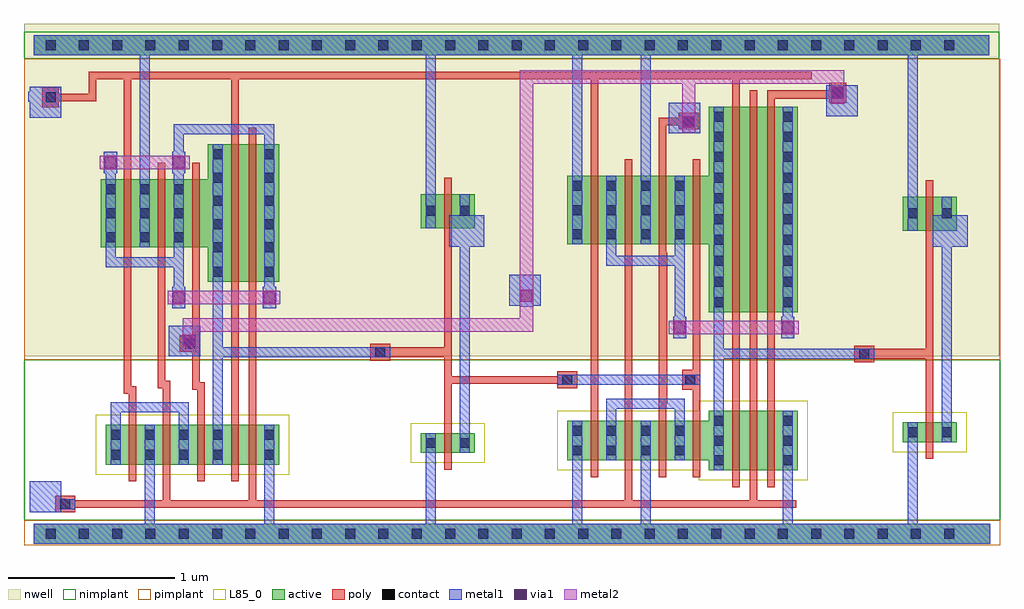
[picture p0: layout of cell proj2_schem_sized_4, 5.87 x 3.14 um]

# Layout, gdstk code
from math import pi, radians
import gdstk
lib = gdstk.Library(unit=1e-6, precision=5e-10)
def R(c, l, rs):  # rectangles x0, y0, x1, y1
    for r in rs: c.add(gdstk.rectangle(r[:2], r[2:], *l))
def A(c, l, x, y, w, h, nx, ny, dx, dy):  # array of equal rectangles
    R(c, l, [(x+i*dx, y+j*dy, x+i*dx+w, y+j*dy+h) for i in range(nx) for j in range(ny)])
active = (1, 0)
nwell = (2, 0)
poly = (3, 0)
nimplant = (4, 0)
pimplant = (5, 0)
contact = (6, 0)
metal1 = (7, 0)
via1 = (8, 0)
metal2 = (9, 0)
L85_0 = (85, 0)

nmos1v_cdns_10 = lib.new_cell('nmos1v_CDNS_10')
R(nmos1v_cdns_10, active, [(-0.14,0,0,0.12), (0,0,0.045,0.12), (0.045,0,0.185,0.12)])
R(nmos1v_cdns_10, poly, [(0,-0.1,0.045,-0.05), (0,-0.05,0.045,0), (0,0,0.045,0.12), (0,0.12,0.045,0.17), (0,0.17,0.045,0.22)])
R(nmos1v_cdns_10, nimplant, [(-0.1,-0.1,0.145,0.22), (-0.21,-0.07,0.255,0.19)])
R(nmos1v_cdns_10, contact, [(-0.11,0.03,-0.05,0.09), (0.095,0.03,0.155,0.09)])
R(nmos1v_cdns_10, metal1, [(-0.11,0,-0.05,0.12), (0.095,0,0.155,0.12)])
R(nmos1v_cdns_10, L85_0, [(-0.2,-0.06,0.245,0.18)])

nmos1v_cdns_11 = lib.new_cell('nmos1v_CDNS_11')
R(nmos1v_cdns_11, active, [(-0.03,0,0,0.36), (0,0,0.045,0.36), (0.045,0,0.075,0.36)])
R(nmos1v_cdns_11, poly, [(0,-0.1,0.045,-0.05), (0,-0.05,0.045,0), (0,0,0.045,0.36), (0,0.36,0.045,0.41), (0,0.41,0.045,0.46)])
R(nmos1v_cdns_11, nimplant, [(-0.1,-0.1,0.145,0.46), (-0.1,-0.07,0.145,0.43)])
R(nmos1v_cdns_11, L85_0, [(-0.09,-0.06,0.135,0.42)])

pmos1v_cdns_12 = lib.new_cell('pmos1v_CDNS_12')
R(pmos1v_cdns_12, active, [(-0.11,0,0,0.41), (0,0,0.045,0.41), (0.045,0,0.155,0.41)])
R(pmos1v_cdns_12, nwell, [(-0.17,-0.06,0.215,0.47)])
R(pmos1v_cdns_12, poly, [(0,-0.1,0.045,-0.05), (0,-0.05,0.045,0), (0,0,0.045,0.41), (0,0.41,0.045,0.46), (0,0.46,0.045,0.51)])
R(pmos1v_cdns_12, pimplant, [(-0.1,-0.1,0.145,0.51), (-0.18,-0.07,0.225,0.48)])
A(pmos1v_cdns_12, contact, -0.11, 0.03, 0.06, 0.06, 1, 3, 0, 0.145)
A(pmos1v_cdns_12, contact, 0.095, 0.03, 0.06, 0.06, 1, 3, 0, 0.145)
R(pmos1v_cdns_12, metal1, [(-0.11,0,-0.05,0.41), (0.095,0,0.155,0.41)])

pmos1v_cdns_13 = lib.new_cell('pmos1v_CDNS_13')
R(pmos1v_cdns_13, active, [(-0.05,0,0,0.41), (0,0,0.045,0.41), (0.045,0,0.185,0.41)])
R(pmos1v_cdns_13, nwell, [(-0.11,-0.06,0.245,0.47)])
R(pmos1v_cdns_13, poly, [(0,-0.1,0.045,-0.05), (0,-0.05,0.045,0), (0,0,0.045,0.41), (0,0.41,0.045,0.46), (0,0.46,0.045,0.51)])
R(pmos1v_cdns_13, pimplant, [(-0.1,-0.1,0.145,0.51), (-0.12,-0.07,0.255,0.48)])
A(pmos1v_cdns_13, contact, 0.095, 0.03, 0.06, 0.06, 1, 3, 0, 0.145)
R(pmos1v_cdns_13, metal1, [(0.095,0,0.155,0.41)])

pmos1v_cdns_14 = lib.new_cell('pmos1v_CDNS_14')
R(pmos1v_cdns_14, active, [(-0.03,0,0,1.235), (0,0,0.045,1.235), (0.045,0,0.075,1.235)])
R(pmos1v_cdns_14, nwell, [(-0.09,-0.06,0.135,1.295)])
R(pmos1v_cdns_14, poly, [(0,-0.1,0.045,-0.05), (0,-0.05,0.045,0), (0,0,0.045,1.235), (0,1.235,0.045,1.285), (0,1.285,0.045,1.335)])
R(pmos1v_cdns_14, pimplant, [(-0.1,-0.1,0.145,1.335), (-0.1,-0.07,0.145,1.305)])

pmos1v_cdns_15 = lib.new_cell('pmos1v_CDNS_15')
R(pmos1v_cdns_15, active, [(-0.14,0,0,0.205), (0,0,0.045,0.205), (0.045,0,0.185,0.205)])
R(pmos1v_cdns_15, nwell, [(-0.2,-0.06,0.245,0.265)])
R(pmos1v_cdns_15, poly, [(0,-0.1,0.045,-0.05), (0,-0.05,0.045,0), (0,0,0.045,0.205), (0,0.205,0.045,0.255), (0,0.255,0.045,0.305)])
R(pmos1v_cdns_15, pimplant, [(-0.1,-0.1,0.145,0.305), (-0.21,-0.07,0.255,0.275)])
R(pmos1v_cdns_15, contact, [(-0.11,0.075,-0.05,0.135), (0.095,0.075,0.155,0.135)])
R(pmos1v_cdns_15, metal1, [(-0.11,0,-0.05,0.205), (0.095,0,0.155,0.205)])

nmos1v_cdns_16 = lib.new_cell('nmos1v_CDNS_16')
R(nmos1v_cdns_16, active, [(-0.14,0,0,0.36), (0,0,0.045,0.36), (0.045,0,0.075,0.36)])
R(nmos1v_cdns_16, poly, [(0,-0.1,0.045,-0.05), (0,-0.05,0.045,0), (0,0,0.045,0.36), (0,0.36,0.045,0.41), (0,0.41,0.045,0.46)])
R(nmos1v_cdns_16, nimplant, [(-0.1,-0.1,0.145,0.46), (-0.21,-0.07,0.145,0.43)])
A(nmos1v_cdns_16, contact, -0.11, 0.03, 0.06, 0.06, 1, 3, 0, 0.12)
R(nmos1v_cdns_16, metal1, [(-0.11,0,-0.05,0.36)])
R(nmos1v_cdns_16, L85_0, [(-0.2,-0.06,0.135,0.42)])

pmos1v_cdns_17 = lib.new_cell('pmos1v_CDNS_17')
R(pmos1v_cdns_17, active, [(-0.14,0,0,1.235), (0,0,0.045,1.235), (0.045,0,0.075,1.235)])
R(pmos1v_cdns_17, nwell, [(-0.2,-0.06,0.135,1.295)])
R(pmos1v_cdns_17, poly, [(0,-0.1,0.045,-0.05), (0,-0.05,0.045,0), (0,0,0.045,1.235), (0,1.235,0.045,1.285), (0,1.285,0.045,1.335)])
R(pmos1v_cdns_17, pimplant, [(-0.1,-0.1,0.145,1.335), (-0.21,-0.07,0.145,1.305)])
A(pmos1v_cdns_17, contact, -0.11, 0.03, 0.06, 0.06, 1, 8, 0, 0.125)
R(pmos1v_cdns_17, contact, [(-0.11,1.025,-0.05,1.085), (-0.11,1.145,-0.05,1.205)])
R(pmos1v_cdns_17, metal1, [(-0.11,0,-0.05,1.235)])

pmos1v_cdns_18 = lib.new_cell('pmos1v_CDNS_18')
R(pmos1v_cdns_18, active, [(-0.05,0,0,0.41), (0,0,0.045,0.41), (0.045,0,0.155,0.41)])
R(pmos1v_cdns_18, nwell, [(-0.11,-0.06,0.215,0.47)])
R(pmos1v_cdns_18, poly, [(0,-0.1,0.045,-0.05), (0,-0.05,0.045,0), (0,0,0.045,0.41), (0,0.41,0.045,0.46), (0,0.46,0.045,0.51)])
R(pmos1v_cdns_18, pimplant, [(-0.1,-0.1,0.145,0.51), (-0.12,-0.07,0.225,0.48)])
A(pmos1v_cdns_18, contact, 0.095, 0.03, 0.06, 0.06, 1, 3, 0, 0.145)
R(pmos1v_cdns_18, metal1, [(0.095,0,0.155,0.41)])

pmos1v_cdns_19 = lib.new_cell('pmos1v_CDNS_19')
R(pmos1v_cdns_19, active, [(-0.03,0,0,1.235), (0,0,0.045,1.235), (0.045,0,0.185,1.235)])
R(pmos1v_cdns_19, nwell, [(-0.09,-0.06,0.245,1.295)])
R(pmos1v_cdns_19, poly, [(0,-0.1,0.045,-0.05), (0,-0.05,0.045,0), (0,0,0.045,1.235), (0,1.235,0.045,1.285), (0,1.285,0.045,1.335)])
R(pmos1v_cdns_19, pimplant, [(-0.1,-0.1,0.145,1.335), (-0.1,-0.07,0.255,1.305)])
A(pmos1v_cdns_19, contact, 0.095, 0.03, 0.06, 0.06, 1, 8, 0, 0.125)
R(pmos1v_cdns_19, contact, [(0.095,1.025,0.155,1.085), (0.095,1.145,0.155,1.205)])
R(pmos1v_cdns_19, metal1, [(0.095,0,0.155,1.235)])

pmos1v_cdns_20 = lib.new_cell('pmos1v_CDNS_20')
R(pmos1v_cdns_20, active, [(-0.11,0,0,0.41), (0,0,0.045,0.41), (0.045,0,0.095,0.41)])
R(pmos1v_cdns_20, nwell, [(-0.17,-0.06,0.155,0.47)])
R(pmos1v_cdns_20, poly, [(0,-0.1,0.045,-0.05), (0,-0.05,0.045,0), (0,0,0.045,0.41), (0,0.41,0.045,0.46), (0,0.46,0.045,0.51)])
R(pmos1v_cdns_20, pimplant, [(-0.1,-0.1,0.145,0.51), (-0.18,-0.07,0.165,0.48)])
A(pmos1v_cdns_20, contact, -0.11, 0.03, 0.06, 0.06, 1, 3, 0, 0.145)
R(pmos1v_cdns_20, metal1, [(-0.11,0,-0.05,0.41)])

pmos1v_cdns_21 = lib.new_cell('pmos1v_CDNS_21')
R(pmos1v_cdns_21, active, [(-0.11,0,0,0.41), (0,0,0.045,0.41), (0.045,0,0.095,0.41)])
R(pmos1v_cdns_21, nwell, [(-0.17,-0.06,0.155,0.47)])
R(pmos1v_cdns_21, poly, [(0,-0.1,0.045,-0.05), (0,-0.05,0.045,0), (0,0,0.045,0.41), (0,0.41,0.045,0.46), (0,0.46,0.045,0.51)])
R(pmos1v_cdns_21, pimplant, [(-0.1,-0.1,0.145,0.51), (-0.18,-0.07,0.165,0.48)])
A(pmos1v_cdns_21, contact, -0.11, 0.03, 0.06, 0.06, 1, 3, 0, 0.145)
R(pmos1v_cdns_21, metal1, [(-0.11,0,-0.05,0.41)])

pmos1v_cdns_22 = lib.new_cell('pmos1v_CDNS_22')
R(pmos1v_cdns_22, active, [(-0.14,0,0,0.41), (0,0,0.045,0.41), (0.045,0,0.095,0.41)])
R(pmos1v_cdns_22, nwell, [(-0.2,-0.06,0.155,0.47)])
R(pmos1v_cdns_22, poly, [(0,-0.1,0.045,-0.05), (0,-0.05,0.045,0), (0,0,0.045,0.41), (0,0.41,0.045,0.46), (0,0.46,0.045,0.51)])
R(pmos1v_cdns_22, pimplant, [(-0.1,-0.1,0.145,0.51), (-0.21,-0.07,0.165,0.48)])
A(pmos1v_cdns_22, contact, -0.11, 0.03, 0.06, 0.06, 1, 3, 0, 0.145)
R(pmos1v_cdns_22, metal1, [(-0.11,0,-0.05,0.41)])

nmos1v_cdns_23 = lib.new_cell('nmos1v_CDNS_23')
R(nmos1v_cdns_23, active, [(-0.03,0,0,0.24), (0,0,0.045,0.24), (0.045,0,0.095,0.24)])
R(nmos1v_cdns_23, poly, [(0,-0.1,0.045,-0.05), (0,-0.05,0.045,0), (0,0,0.045,0.24), (0,0.24,0.045,0.29), (0,0.29,0.045,0.34)])
R(nmos1v_cdns_23, nimplant, [(-0.1,-0.1,0.145,0.34), (-0.1,-0.07,0.165,0.31)])
R(nmos1v_cdns_23, L85_0, [(-0.09,-0.06,0.155,0.3)])

nmos1v_cdns_24 = lib.new_cell('nmos1v_CDNS_24')
R(nmos1v_cdns_24, active, [(-0.14,0,0,0.24), (0,0,0.045,0.24), (0.045,0,0.095,0.24)])
R(nmos1v_cdns_24, poly, [(0,-0.1,0.045,-0.05), (0,-0.05,0.045,0), (0,0,0.045,0.24), (0,0.24,0.045,0.29), (0,0.29,0.045,0.34)])
R(nmos1v_cdns_24, nimplant, [(-0.1,-0.1,0.145,0.34), (-0.21,-0.07,0.165,0.31)])
R(nmos1v_cdns_24, contact, [(-0.11,0.03,-0.05,0.09), (-0.11,0.15,-0.05,0.21)])
R(nmos1v_cdns_24, metal1, [(-0.11,0,-0.05,0.24)])
R(nmos1v_cdns_24, L85_0, [(-0.2,-0.06,0.155,0.3)])

nmos1v_cdns_25 = lib.new_cell('nmos1v_CDNS_25')
R(nmos1v_cdns_25, active, [(-0.03,0,0,0.36), (0,0,0.045,0.36), (0.045,0,0.185,0.36)])
R(nmos1v_cdns_25, poly, [(0,-0.1,0.045,-0.05), (0,-0.05,0.045,0), (0,0,0.045,0.36), (0,0.36,0.045,0.41), (0,0.41,0.045,0.46)])
R(nmos1v_cdns_25, nimplant, [(-0.1,-0.1,0.145,0.46), (-0.1,-0.07,0.255,0.43)])
A(nmos1v_cdns_25, contact, 0.095, 0.03, 0.06, 0.06, 1, 3, 0, 0.12)
R(nmos1v_cdns_25, metal1, [(0.095,0,0.155,0.36)])
R(nmos1v_cdns_25, L85_0, [(-0.09,-0.06,0.245,0.42)])

nmos1v_cdns_26 = lib.new_cell('nmos1v_CDNS_26')
R(nmos1v_cdns_26, active, [(-0.05,0,0,0.24), (0,0,0.045,0.24), (0.045,0,0.185,0.24)])
R(nmos1v_cdns_26, poly, [(0,-0.1,0.045,-0.05), (0,-0.05,0.045,0), (0,0,0.045,0.24), (0,0.24,0.045,0.29), (0,0.29,0.045,0.34)])
R(nmos1v_cdns_26, nimplant, [(-0.1,-0.1,0.145,0.34), (-0.12,-0.07,0.255,0.31)])
R(nmos1v_cdns_26, contact, [(0.095,0.03,0.155,0.09), (0.095,0.15,0.155,0.21)])
R(nmos1v_cdns_26, metal1, [(0.095,0,0.155,0.24)])
R(nmos1v_cdns_26, L85_0, [(-0.11,-0.06,0.245,0.3)])

nmos1v_cdns_27 = lib.new_cell('nmos1v_CDNS_27')
R(nmos1v_cdns_27, active, [(-0.11,0,0,0.24), (0,0,0.045,0.24), (0.045,0,0.095,0.24)])
R(nmos1v_cdns_27, poly, [(0,-0.1,0.045,-0.05), (0,-0.05,0.045,0), (0,0,0.045,0.24), (0,0.24,0.045,0.29), (0,0.29,0.045,0.34)])
R(nmos1v_cdns_27, nimplant, [(-0.1,-0.1,0.145,0.34), (-0.18,-0.07,0.165,0.31)])
R(nmos1v_cdns_27, contact, [(-0.11,0.03,-0.05,0.09), (-0.11,0.15,-0.05,0.21)])
R(nmos1v_cdns_27, metal1, [(-0.11,0,-0.05,0.24)])
R(nmos1v_cdns_27, L85_0, [(-0.17,-0.06,0.155,0.3)])

nmos1v_cdns_28 = lib.new_cell('nmos1v_CDNS_28')
R(nmos1v_cdns_28, active, [(-0.05,0,0,0.24), (0,0,0.045,0.24), (0.045,0,0.155,0.24)])
R(nmos1v_cdns_28, poly, [(0,-0.1,0.045,-0.05), (0,-0.05,0.045,0), (0,0,0.045,0.24), (0,0.24,0.045,0.29), (0,0.29,0.045,0.34)])
R(nmos1v_cdns_28, nimplant, [(-0.1,-0.1,0.145,0.34), (-0.12,-0.07,0.225,0.31)])
R(nmos1v_cdns_28, contact, [(0.095,0.03,0.155,0.09), (0.095,0.15,0.155,0.21)])
R(nmos1v_cdns_28, metal1, [(0.095,0,0.155,0.24)])
R(nmos1v_cdns_28, L85_0, [(-0.11,-0.06,0.215,0.3)])

pmos1v_cdns_29 = lib.new_cell('pmos1v_CDNS_29')
R(pmos1v_cdns_29, active, [(-0.03,0,0,0.825), (0,0,0.045,0.825), (0.045,0,0.185,0.825)])
R(pmos1v_cdns_29, nwell, [(-0.09,-0.06,0.245,0.885)])
R(pmos1v_cdns_29, poly, [(0,-0.1,0.045,-0.05), (0,-0.05,0.045,0), (0,0,0.045,0.825), (0,0.825,0.045,0.875), (0,0.875,0.045,0.925)])
R(pmos1v_cdns_29, pimplant, [(-0.1,-0.1,0.145,0.925), (-0.1,-0.07,0.255,0.895)])
A(pmos1v_cdns_29, contact, 0.095, 0.175, 0.06, 0.06, 1, 5, 0, 0.14)
R(pmos1v_cdns_29, contact, [(0.095,0.03,0.155,0.09)])
R(pmos1v_cdns_29, metal1, [(0.095,0,0.155,0.825)])

nmos1v_cdns_30 = lib.new_cell('nmos1v_CDNS_30')
R(nmos1v_cdns_30, active, [(-0.05,0,0,0.24), (0,0,0.045,0.24), (0.045,0,0.155,0.24)])
R(nmos1v_cdns_30, poly, [(0,-0.1,0.045,-0.05), (0,-0.05,0.045,0), (0,0,0.045,0.24), (0,0.24,0.045,0.29), (0,0.29,0.045,0.34)])
R(nmos1v_cdns_30, nimplant, [(-0.1,-0.1,0.145,0.34), (-0.12,-0.07,0.225,0.31)])
R(nmos1v_cdns_30, contact, [(0.095,0.03,0.155,0.09), (0.095,0.15,0.155,0.21)])
R(nmos1v_cdns_30, metal1, [(0.095,0,0.155,0.24)])
R(nmos1v_cdns_30, L85_0, [(-0.11,-0.06,0.215,0.3)])

nmos1v_cdns_31 = lib.new_cell('nmos1v_CDNS_31')
R(nmos1v_cdns_31, active, [(-0.11,0,0,0.24), (0,0,0.045,0.24), (0.045,0,0.155,0.24)])
R(nmos1v_cdns_31, poly, [(0,-0.1,0.045,-0.05), (0,-0.05,0.045,0), (0,0,0.045,0.24), (0,0.24,0.045,0.29), (0,0.29,0.045,0.34)])
R(nmos1v_cdns_31, nimplant, [(-0.1,-0.1,0.145,0.34), (-0.18,-0.07,0.225,0.31)])
R(nmos1v_cdns_31, contact, [(-0.11,0.03,-0.05,0.09), (0.095,0.03,0.155,0.09), (-0.11,0.15,-0.05,0.21), (0.095,0.15,0.155,0.21)])
R(nmos1v_cdns_31, metal1, [(-0.11,0,-0.05,0.24), (0.095,0,0.155,0.24)])
R(nmos1v_cdns_31, L85_0, [(-0.17,-0.06,0.215,0.3)])

nmos1v_cdns_32 = lib.new_cell('nmos1v_CDNS_32')
R(nmos1v_cdns_32, active, [(-0.14,0,0,0.24), (0,0,0.045,0.24), (0.045,0,0.075,0.24)])
R(nmos1v_cdns_32, poly, [(0,-0.1,0.045,-0.05), (0,-0.05,0.045,0), (0,0,0.045,0.24), (0,0.24,0.045,0.29), (0,0.29,0.045,0.34)])
R(nmos1v_cdns_32, nimplant, [(-0.1,-0.1,0.145,0.34), (-0.21,-0.07,0.145,0.31)])
R(nmos1v_cdns_32, contact, [(-0.11,0.03,-0.05,0.09), (-0.11,0.15,-0.05,0.21)])
R(nmos1v_cdns_32, metal1, [(-0.11,0,-0.05,0.24)])
R(nmos1v_cdns_32, L85_0, [(-0.2,-0.06,0.135,0.3)])

pmos1v_cdns_33 = lib.new_cell('pmos1v_CDNS_33')
R(pmos1v_cdns_33, active, [(-0.05,0,0,0.41), (0,0,0.045,0.41), (0.045,0,0.095,0.41)])
R(pmos1v_cdns_33, nwell, [(-0.11,-0.06,0.155,0.47)])
R(pmos1v_cdns_33, poly, [(0,-0.1,0.045,-0.05), (0,-0.05,0.045,0), (0,0,0.045,0.41), (0,0.41,0.045,0.46), (0,0.46,0.045,0.51)])
R(pmos1v_cdns_33, pimplant, [(-0.1,-0.1,0.145,0.51), (-0.12,-0.07,0.165,0.48)])

pmos1v_cdns_34 = lib.new_cell('pmos1v_CDNS_34')
R(pmos1v_cdns_34, active, [(-0.14,0,0,0.825), (0,0,0.045,0.825), (0.045,0,0.075,0.825)])
R(pmos1v_cdns_34, nwell, [(-0.2,-0.06,0.135,0.885)])
R(pmos1v_cdns_34, poly, [(0,-0.1,0.045,-0.05), (0,-0.05,0.045,0), (0,0,0.045,0.825), (0,0.825,0.045,0.875), (0,0.875,0.045,0.925)])
R(pmos1v_cdns_34, pimplant, [(-0.1,-0.1,0.145,0.925), (-0.21,-0.07,0.145,0.895)])
A(pmos1v_cdns_34, contact, -0.11, 0.175, 0.06, 0.06, 1, 5, 0, 0.14)
R(pmos1v_cdns_34, contact, [(-0.11,0.03,-0.05,0.09)])
R(pmos1v_cdns_34, metal1, [(-0.11,0,-0.05,0.825)])

nmos1v_cdns_35 = lib.new_cell('nmos1v_CDNS_35')
R(nmos1v_cdns_35, active, [(-0.11,0,0,0.24), (0,0,0.045,0.24), (0.045,0,0.095,0.24)])
R(nmos1v_cdns_35, poly, [(0,-0.1,0.045,-0.05), (0,-0.05,0.045,0), (0,0,0.045,0.24), (0,0.24,0.045,0.29), (0,0.29,0.045,0.34)])
R(nmos1v_cdns_35, nimplant, [(-0.1,-0.1,0.145,0.34), (-0.18,-0.07,0.165,0.31)])
R(nmos1v_cdns_35, contact, [(-0.11,0.03,-0.05,0.09), (-0.11,0.15,-0.05,0.21)])
R(nmos1v_cdns_35, metal1, [(-0.11,0,-0.05,0.24)])
R(nmos1v_cdns_35, L85_0, [(-0.17,-0.06,0.155,0.3)])

m2_m1_cdns_1 = lib.new_cell('M2_M1_CDNS_1')
R(m2_m1_cdns_1, metal1, [(-0.04,-0.065,0.04,0.065)])
R(m2_m1_cdns_1, via1, [(-0.035,-0.035,0.035,0.035)])
R(m2_m1_cdns_1, metal2, [(-0.065,-0.04,0.065,0.04)])

m1_po_cdns_2 = lib.new_cell('M1_PO_CDNS_2')
R(m1_po_cdns_2, poly, [(-0.0475,-0.06,0.0525,0.06)])
R(m1_po_cdns_2, contact, [(-0.0275,-0.03,0.0325,0.03)])
R(m1_po_cdns_2, metal1, [(-0.0575,-0.03,0.0625,0.03)])

m1_po_cdns_3 = lib.new_cell('M1_PO_CDNS_3')
R(m1_po_cdns_3, poly, [(-0.06,-0.05,0.06,0.05)])
R(m1_po_cdns_3, contact, [(-0.03,-0.03,0.03,0.03)])
R(m1_po_cdns_3, metal1, [(-0.06,-0.03,0.06,0.03)])

m1_po_cdns_4 = lib.new_cell('M1_PO_CDNS_4')
R(m1_po_cdns_4, poly, [(-0.06,-0.0475,0.06,0.0525)])
R(m1_po_cdns_4, contact, [(-0.03,-0.0275,0.03,0.0325)])
R(m1_po_cdns_4, metal1, [(-0.06,-0.0275,0.06,0.0325)])

m1_po_cdns_5 = lib.new_cell('M1_PO_CDNS_5')
R(m1_po_cdns_5, poly, [(-0.05,-0.06,0.05,0.06)])
R(m1_po_cdns_5, contact, [(-0.03,-0.03,0.03,0.03)])
R(m1_po_cdns_5, metal1, [(-0.06,-0.03,0.06,0.03)])

m1_po_cdns_6 = lib.new_cell('M1_PO_CDNS_6')
R(m1_po_cdns_6, poly, [(-0.06,-0.0475,0.06,0.0525)])
R(m1_po_cdns_6, contact, [(-0.03,-0.0275,0.03,0.0325)])
R(m1_po_cdns_6, metal1, [(-0.03,-0.0575,0.03,0.0625)])

m2_m1_cdns_7 = lib.new_cell('M2_M1_CDNS_7')
R(m2_m1_cdns_7, metal1, [(-0.04,-0.065,0.04,0.065)])
R(m2_m1_cdns_7, via1, [(-0.035,-0.035,0.035,0.035)])
R(m2_m1_cdns_7, metal2, [(-0.04,-0.065,0.04,0.065)])

m2_m1_cdns_8 = lib.new_cell('M2_M1_CDNS_8')
R(m2_m1_cdns_8, metal1, [(-0.065,-0.04,0.065,0.04)])
R(m2_m1_cdns_8, via1, [(-0.035,-0.035,0.035,0.035)])
R(m2_m1_cdns_8, metal2, [(-0.04,-0.065,0.04,0.065)])

m1_po_cdns_9 = lib.new_cell('M1_PO_CDNS_9')
R(m1_po_cdns_9, poly, [(-0.06,-0.0475,0.06,0.0525)])
R(m1_po_cdns_9, contact, [(-0.03,-0.0275,0.03,0.0325)])
R(m1_po_cdns_9, metal1, [(-0.06,-0.0325,0.06,0.0325)])

proj2_schem_sized_4 = lib.new_cell('proj2_schem_sized_4')
R(proj2_schem_sized_4, active, [(0.195,-3.695,5.94,-3.575), (0.195,-0.76,5.935,-0.64)])
R(proj2_schem_sized_4, nwell, [(0.135,-2.57,5.995,-0.57)])
R(proj2_schem_sized_4, nimplant, [(0.135,-3.555,6,-2.59), (0.135,-0.78,5.995,-0.62)])
R(proj2_schem_sized_4, pimplant, [(0.135,-3.705,6,-3.555), (0.135,-2.59,6,-0.78)])
A(proj2_schem_sized_4, contact, 0.265, -3.665, 0.06, 0.06, 28, 2, 0.2, 2.935)
R(proj2_schem_sized_4, metal1, [(0.195,-3.695,5.94,-3.575), (0.565,-3.66,0.625,-3.6), (0.17,-3.505,0.36,-3.32), (0.215,-3.485,0.275,-3.425), (1.005,-2.57,1.195,-2.385), (3.05,-2.265,3.24,-2.08), (3.125,-2.245,3.185,-2.185), (2.69,-1.91,2.9,-1.72), (5.595,-1.91,5.805,-1.72), (2.755,-1.835,2.815,-1.775), (5.65,-1.825,5.71,-1.765), (4.01,-1.23,4.2,-1.045), (0.17,-1.135,0.36,-0.95), (4.955,-1.125,5.145,-0.94), (0.16,-1.04,0.22,-0.98), (0.195,-0.76,5.935,-0.64), (1.17,-0.73,1.23,-0.67)])
proj2_schem_sized_4.add(gdstk.FlexPath([(5.025,-0.995),(5.025,-0.985)], 0.05, ends=(0.025, 0), simple_path=True, layer=3, datatype=0))  # poly
proj2_schem_sized_4.add(gdstk.FlexPath([(4.625,-0.995),(5.025,-0.995)], 0.05, ends=(0, 0.025), simple_path=True, layer=3, datatype=0))  # poly
proj2_schem_sized_4.add(gdstk.FlexPath([(3.9725,-1.1575),(4.13,-1.1575)], 0.045, ends=(0.0225, 0), simple_path=True, layer=3, datatype=0))  # poly
proj2_schem_sized_4.add(gdstk.FlexPath([(3.9725,-1.385),(3.9725,-1.1575)], 0.045, ends=(0, 0.0225), simple_path=True, layer=3, datatype=0))  # poly
proj2_schem_sized_4.add(gdstk.FlexPath([(0.5475,-0.8825),(0.7575,-0.8825)], 0.045, ends="extended", simple_path=True, layer=3, datatype=0))  # poly
proj2_schem_sized_4.add(gdstk.FlexPath([(0.7575,-1.405),(0.7575,-0.8825)], 0.045, ends=(0, 0.0225), simple_path=True, layer=3, datatype=0))  # poly
proj2_schem_sized_4.add(gdstk.FlexPath([(0.7575,-0.8825),(1.4025,-0.8825)], 0.045, ends="extended", simple_path=True, layer=3, datatype=0))  # poly
proj2_schem_sized_4.add(gdstk.FlexPath([(1.4025,-1.22),(1.4025,-0.8825)], 0.045, ends=(0, 0.0225), simple_path=True, layer=3, datatype=0))  # poly
proj2_schem_sized_4.add(gdstk.FlexPath([(1.4025,-0.8825),(3.5625,-0.8825)], 0.045, ends="extended", simple_path=True, layer=3, datatype=0))  # poly
proj2_schem_sized_4.add(gdstk.FlexPath([(3.5625,-1.385),(3.5625,-0.8825)], 0.045, ends=(0, 0.0225), simple_path=True, layer=3, datatype=0))  # poly
proj2_schem_sized_4.add(gdstk.FlexPath([(3.5625,-0.8825),(4.4125,-0.8825)], 0.045, ends="extended", simple_path=True, layer=3, datatype=0))  # poly
proj2_schem_sized_4.add(gdstk.FlexPath([(4.4125,-0.97),(4.4125,-0.8825)], 0.045, ends=(0, 0.0225), simple_path=True, layer=3, datatype=0))  # poly
proj2_schem_sized_4.add(gdstk.FlexPath([(4.4125,-0.8825),(4.87,-0.8825)], 0.045, ends=(0.0225, 0), simple_path=True, layer=3, datatype=0))  # poly
proj2_schem_sized_4.add(gdstk.FlexPath([(0.5475,-1.0125),(0.5475,-0.8825)], 0.045, ends="extended", simple_path=True, layer=3, datatype=0))  # poly
proj2_schem_sized_4.add(gdstk.FlexPath([(0.7875,-2.7725),(0.7875,-2.88)], 0.045, ends=(0.0225, 0), simple_path=True, layer=3, datatype=0))  # poly
proj2_schem_sized_4.add(gdstk.FlexPath([(0.7575,-2.7725),(0.7875,-2.7725)], 0.045, ends="extended", simple_path=True, layer=3, datatype=0))  # poly
proj2_schem_sized_4.add(gdstk.FlexPath([(0.7575,-1.99),(0.7575,-2.7725)], 0.045, ends=(0, 0.0225), simple_path=True, layer=3, datatype=0))  # poly
proj2_schem_sized_4.add(gdstk.FlexPath([(0.9925,-2.7375),(0.9925,-2.88)], 0.045, ends=(0.0225, 0), simple_path=True, layer=3, datatype=0))  # poly
proj2_schem_sized_4.add(gdstk.FlexPath([(0.9625,-2.7375),(0.9925,-2.7375)], 0.045, ends="extended", simple_path=True, layer=3, datatype=0))  # poly
proj2_schem_sized_4.add(gdstk.FlexPath([(0.9625,-2.015),(0.9625,-2.7375)], 0.045, ends=(0, 0.0225), simple_path=True, layer=3, datatype=0))  # poly
proj2_schem_sized_4.add(gdstk.FlexPath([(1.1975,-2.7475),(1.1975,-2.88)], 0.045, ends=(0.0225, 0), simple_path=True, layer=3, datatype=0))  # poly
proj2_schem_sized_4.add(gdstk.FlexPath([(1.1675,-2.7475),(1.1975,-2.7475)], 0.045, ends="extended", simple_path=True, layer=3, datatype=0))  # poly
proj2_schem_sized_4.add(gdstk.FlexPath([(1.1675,-2.015),(1.1675,-2.7475)], 0.045, ends=(0, 0.0225), simple_path=True, layer=3, datatype=0))  # poly
proj2_schem_sized_4.add(gdstk.FlexPath([(1.4025,-2.22),(1.4025,-2.88)], 0.045, ends="flush", simple_path=True, layer=3, datatype=0))  # poly
proj2_schem_sized_4.add(gdstk.FlexPath([(1.5075,-2.22),(1.5075,-2.88)], 0.045, ends="flush", simple_path=True, layer=3, datatype=0))  # poly
proj2_schem_sized_4.add(gdstk.FlexPath([(3.7675,-1.995),(3.7675,-2.855)], 0.045, ends="flush", simple_path=True, layer=3, datatype=0))  # poly
proj2_schem_sized_4.add(gdstk.FlexPath([(3.975,-1.97),(3.975,-2.855)], 0.05, ends=(0.025, 0), simple_path=True, layer=3, datatype=0))  # poly
proj2_schem_sized_4.add(gdstk.FlexPath([(3.5625,-1.995),(3.5625,-2.855)], 0.045, ends="flush", simple_path=True, layer=3, datatype=0))  # poly
proj2_schem_sized_4.add(gdstk.FlexPath([(4.4125,-2.405),(4.4125,-2.795)], 0.045, ends="flush", simple_path=True, layer=3, datatype=0))  # poly
proj2_schem_sized_4.add(gdstk.FlexPath([(4.1775,-1.995),(4.1775,-2.71)], 0.045, ends="flush", simple_path=True, layer=3, datatype=0))  # poly
proj2_schem_sized_4.add(gdstk.FlexPath([(4.5175,-2.405),(4.5175,-2.795)], 0.045, ends="flush", simple_path=True, layer=3, datatype=0))  # poly
proj2_schem_sized_4.add(gdstk.FlexPath([(4.6225,-2.405),(4.6225,-2.795)], 0.045, ends="flush", simple_path=True, layer=3, datatype=0))  # poly
proj2_schem_sized_4.add(gdstk.FlexPath([(3.7675,-3.4575),(4.5175,-3.4575)], 0.045, ends="extended", simple_path=True, layer=3, datatype=0))  # poly
proj2_schem_sized_4.add(gdstk.FlexPath([(0.9925,-3.32),(0.9925,-3.4575)], 0.045, ends=(0, 0.0225), simple_path=True, layer=3, datatype=0))  # poly
proj2_schem_sized_4.add(gdstk.FlexPath([(0.3825,-3.4575),(0.9925,-3.4575)], 0.045, ends=(0, 0.0225), simple_path=True, layer=3, datatype=0))  # poly
proj2_schem_sized_4.add(gdstk.FlexPath([(1.5075,-3.32),(1.5075,-3.4575)], 0.045, ends=(0, 0.0225), simple_path=True, layer=3, datatype=0))  # poly
proj2_schem_sized_4.add(gdstk.FlexPath([(3.7675,-3.295),(3.7675,-3.4575)], 0.045, ends=(0, 0.0225), simple_path=True, layer=3, datatype=0))  # poly
proj2_schem_sized_4.add(gdstk.FlexPath([(4.5175,-3.4575),(4.775,-3.4575)], 0.045, ends=(0.0225, 0), simple_path=True, layer=3, datatype=0))  # poly
proj2_schem_sized_4.add(gdstk.FlexPath([(1.5075,-3.4575),(3.7675,-3.4575)], 0.045, ends="extended", simple_path=True, layer=3, datatype=0))  # poly
proj2_schem_sized_4.add(gdstk.FlexPath([(4.5175,-3.355),(4.5175,-3.4575)], 0.045, ends=(0, 0.0225), simple_path=True, layer=3, datatype=0))  # poly
proj2_schem_sized_4.add(gdstk.FlexPath([(0.9925,-3.4575),(1.5075,-3.4575)], 0.045, ends="extended", simple_path=True, layer=3, datatype=0))  # poly
proj2_schem_sized_4.add(gdstk.FlexPath([(5.5775,-2.865),(5.5775,-2.555)], 0.045, ends=(0, 0.03), simple_path=True, layer=3, datatype=0))  # poly
proj2_schem_sized_4.add(gdstk.FlexPath([(5.185,-2.555),(5.5775,-2.555)], 0.06, ends=(0, 0.0225), simple_path=True, layer=3, datatype=0))  # poly
proj2_schem_sized_4.add(gdstk.FlexPath([(2.6825,-2.7125),(2.6825,-2.93)], 0.045, ends=(0.0225, 0), simple_path=True, layer=3, datatype=0))  # poly
proj2_schem_sized_4.add(gdstk.FlexPath([(4.1775,-2.71),(4.1775,-2.855)], 0.045, ends="flush", simple_path=True, layer=3, datatype=0))  # poly
proj2_schem_sized_4.add(gdstk.FlexPath([(2.6825,-2.7125),(3.4,-2.7125)], 0.045, ends=(0.0225, 0), simple_path=True, layer=3, datatype=0))  # poly
proj2_schem_sized_4.add(gdstk.FlexPath([(2.6825,-1.9),(2.6825,-2.545)], 0.045, ends=(0, 0.03), simple_path=True, layer=3, datatype=0))  # poly
proj2_schem_sized_4.add(gdstk.FlexPath([(2.275,-2.545),(2.6825,-2.545)], 0.06, ends=(0, 0.0225), simple_path=True, layer=3, datatype=0))  # poly
proj2_schem_sized_4.add(gdstk.FlexPath([(5.5775,-2.555),(5.5775,-1.915)], 0.045, ends=(0.03, 0), simple_path=True, layer=3, datatype=0))  # poly
proj2_schem_sized_4.add(gdstk.FlexPath([(0.295,-1.0125),(0.5475,-1.0125)], 0.045, ends=(0, 0.0225), simple_path=True, layer=3, datatype=0))  # poly
proj2_schem_sized_4.add(gdstk.FlexPath([(2.6825,-2.545),(2.6825,-2.7125)], 0.045, ends=(0.03, 0.0225), simple_path=True, layer=3, datatype=0))  # poly
proj2_schem_sized_4.add(gdstk.FlexPath([(4.105,-1.16),(4.13,-1.16)], 0.06, ends="flush", simple_path=True, layer=7, datatype=0))  # metal1
proj2_schem_sized_4.add(gdstk.FlexPath([(3.155,-2.215),(3.155,-2.205)], 0.06, ends="flush", simple_path=True, layer=7, datatype=0))  # metal1
proj2_schem_sized_4.add(gdstk.FlexPath([(1.13,-2.495),(1.13,-2.475)], 0.06, ends="flush", simple_path=True, layer=7, datatype=0))  # metal1
proj2_schem_sized_4.add(gdstk.FlexPath([(4.31,-2.555),(5.185,-2.555)], 0.06, ends=(0.03, 0), simple_path=True, layer=7, datatype=0))  # metal1
proj2_schem_sized_4.add(gdstk.FlexPath([(4.31,-2.555),(4.31,-2.895)], 0.06, ends=(0.03, 0), simple_path=True, layer=7, datatype=0))  # metal1
proj2_schem_sized_4.add(gdstk.FlexPath([(3.4,-2.71),(4.1775,-2.71)], 0.06, ends="flush", simple_path=True, layer=7, datatype=0))  # metal1
proj2_schem_sized_4.add(gdstk.FlexPath([(3.87,-1.485),(3.87,-0.76)], 0.06, ends="flush", simple_path=True, layer=7, datatype=0))  # metal1
proj2_schem_sized_4.add(gdstk.FlexPath([(3.46,-1.485),(3.46,-0.76)], 0.06, ends="flush", simple_path=True, layer=7, datatype=0))  # metal1
proj2_schem_sized_4.add(gdstk.FlexPath([(1.3,-2.545),(2.275,-2.545)], 0.06, ends=(0.03, 0), simple_path=True, layer=7, datatype=0))  # metal1
proj2_schem_sized_4.add(gdstk.FlexPath([(1.3,-2.545),(1.3,-2.98)], 0.06, ends=(0.03, 0), simple_path=True, layer=7, datatype=0))  # metal1
proj2_schem_sized_4.add(gdstk.FlexPath([(5.475,-3.085),(5.475,-3.575)], 0.06, ends="flush", simple_path=True, layer=7, datatype=0))  # metal1
proj2_schem_sized_4.add(gdstk.FlexPath([(5.475,-1.61),(5.475,-0.76)], 0.06, ends="flush", simple_path=True, layer=7, datatype=0))  # metal1
proj2_schem_sized_4.add(gdstk.FlexPath([(5.68,-1.815),(5.68,-2.965)], 0.06, ends="flush", simple_path=True, layer=7, datatype=0))  # metal1
proj2_schem_sized_4.add(gdstk.FlexPath([(0.86,-1.505),(0.86,-0.76)], 0.06, ends="flush", simple_path=True, layer=7, datatype=0))  # metal1
proj2_schem_sized_4.add(gdstk.FlexPath([(4.075,-2.395),(4.075,-1.995)], 0.06, ends=(0, 0.03), simple_path=True, layer=7, datatype=0))  # metal1
proj2_schem_sized_4.add(gdstk.FlexPath([(4.725,-2.305),(4.725,-2.395)], 0.06, ends="flush", simple_path=True, layer=7, datatype=0))  # metal1
proj2_schem_sized_4.add(gdstk.FlexPath([(4.075,-1.995),(4.075,-1.895)], 0.06, ends=(0.03, 0), simple_path=True, layer=7, datatype=0))  # metal1
proj2_schem_sized_4.add(gdstk.FlexPath([(3.665,-1.995),(4.075,-1.995)], 0.06, ends="extended", simple_path=True, layer=7, datatype=0))  # metal1
proj2_schem_sized_4.add(gdstk.FlexPath([(3.665,-1.895),(3.665,-1.995)], 0.06, ends=(0, 0.03), simple_path=True, layer=7, datatype=0))  # metal1
proj2_schem_sized_4.add(gdstk.FlexPath([(4.31,-2.305),(4.31,-2.555)], 0.06, ends=(0, 0.03), simple_path=True, layer=7, datatype=0))  # metal1
proj2_schem_sized_4.add(gdstk.FlexPath([(4.725,-3.255),(4.725,-3.575)], 0.06, ends="flush", simple_path=True, layer=7, datatype=0))  # metal1
proj2_schem_sized_4.add(gdstk.FlexPath([(3.665,-2.955),(3.665,-2.855)], 0.06, ends=(0, 0.03), simple_path=True, layer=7, datatype=0))  # metal1
proj2_schem_sized_4.add(gdstk.FlexPath([(3.665,-2.855),(4.075,-2.855)], 0.06, ends="extended", simple_path=True, layer=7, datatype=0))  # metal1
proj2_schem_sized_4.add(gdstk.FlexPath([(4.075,-2.855),(4.075,-2.955)], 0.06, ends=(0.03, 0), simple_path=True, layer=7, datatype=0))  # metal1
proj2_schem_sized_4.add(gdstk.FlexPath([(3.46,-3.195),(3.46,-3.575)], 0.06, ends="flush", simple_path=True, layer=7, datatype=0))  # metal1
proj2_schem_sized_4.add(gdstk.FlexPath([(3.87,-3.195),(3.87,-3.575)], 0.06, ends="flush", simple_path=True, layer=7, datatype=0))  # metal1
proj2_schem_sized_4.add(gdstk.FlexPath([(2.58,-1.595),(2.58,-0.76)], 0.06, ends="flush", simple_path=True, layer=7, datatype=0))  # metal1
proj2_schem_sized_4.add(gdstk.FlexPath([(2.58,-3.15),(2.58,-3.575)], 0.06, ends="flush", simple_path=True, layer=7, datatype=0))  # metal1
proj2_schem_sized_4.add(gdstk.FlexPath([(2.785,-1.8),(2.785,-3.03)], 0.06, ends="flush", simple_path=True, layer=7, datatype=0))  # metal1
proj2_schem_sized_4.add(gdstk.FlexPath([(0.89,-3.22),(0.89,-3.575)], 0.06, ends="flush", simple_path=True, layer=7, datatype=0))  # metal1
proj2_schem_sized_4.add(gdstk.FlexPath([(1.61,-3.22),(1.61,-3.575)], 0.06, ends="flush", simple_path=True, layer=7, datatype=0))  # metal1
proj2_schem_sized_4.add(gdstk.FlexPath([(1.3,-2.12),(1.3,-2.545)], 0.06, ends=(0, 0.03), simple_path=True, layer=7, datatype=0))  # metal1
proj2_schem_sized_4.add(gdstk.FlexPath([(1.095,-2.875),(1.095,-2.98)], 0.06, ends=(0.03, 0), simple_path=True, layer=7, datatype=0))  # metal1
proj2_schem_sized_4.add(gdstk.FlexPath([(0.685,-2.875),(1.095,-2.875)], 0.06, ends="extended", simple_path=True, layer=7, datatype=0))  # metal1
proj2_schem_sized_4.add(gdstk.FlexPath([(0.685,-2.98),(0.685,-2.875)], 0.06, ends=(0, 0.03), simple_path=True, layer=7, datatype=0))  # metal1
proj2_schem_sized_4.add(gdstk.FlexPath([(1.065,-1.915),(1.065,-2.005)], 0.06, ends=(0, 0.03), simple_path=True, layer=7, datatype=0))  # metal1
proj2_schem_sized_4.add(gdstk.FlexPath([(1.61,-2.215),(1.61,-2.12)], 0.06, ends="flush", simple_path=True, layer=7, datatype=0))  # metal1
proj2_schem_sized_4.add(gdstk.FlexPath([(1.065,-2.005),(1.065,-2.215)], 0.06, ends=(0.03, 0), simple_path=True, layer=7, datatype=0))  # metal1
proj2_schem_sized_4.add(gdstk.FlexPath([(0.655,-1.505),(0.655,-1.405)], 0.06, ends="flush", simple_path=True, layer=7, datatype=0))  # metal1
proj2_schem_sized_4.add(gdstk.FlexPath([(1.065,-1.505),(1.065,-1.405)], 0.06, ends="flush", simple_path=True, layer=7, datatype=0))  # metal1
proj2_schem_sized_4.add(gdstk.FlexPath([(1.61,-1.205),(1.61,-1.295)], 0.06, ends=(0.03, 0), simple_path=True, layer=7, datatype=0))  # metal1
proj2_schem_sized_4.add(gdstk.FlexPath([(1.065,-1.405),(1.065,-1.205)], 0.06, ends=(0, 0.03), simple_path=True, layer=7, datatype=0))  # metal1
proj2_schem_sized_4.add(gdstk.FlexPath([(0.655,-1.915),(0.655,-2.005)], 0.06, ends=(0, 0.03), simple_path=True, layer=7, datatype=0))  # metal1
proj2_schem_sized_4.add(gdstk.FlexPath([(0.245,-3.455),(0.3825,-3.455)], 0.06, ends="flush", simple_path=True, layer=7, datatype=0))  # metal1
proj2_schem_sized_4.add(gdstk.FlexPath([(1.065,-1.205),(1.61,-1.205)], 0.06, ends="extended", simple_path=True, layer=7, datatype=0))  # metal1
proj2_schem_sized_4.add(gdstk.FlexPath([(0.655,-2.005),(1.065,-2.005)], 0.06, ends="extended", simple_path=True, layer=7, datatype=0))  # metal1
proj2_schem_sized_4.add(gdstk.FlexPath([(5.025,-0.985),(5.025,-0.89)], 0.08, ends=(0, 0.04), simple_path=True, layer=9, datatype=0))  # metal2
proj2_schem_sized_4.add(gdstk.FlexPath([(3.155,-2.205),(3.155,-0.89)], 0.08, ends=(0, 0.04), simple_path=True, layer=9, datatype=0))  # metal2
proj2_schem_sized_4.add(gdstk.FlexPath([(4.13,-0.89),(5.025,-0.89)], 0.08, ends="extended", simple_path=True, layer=9, datatype=0))  # metal2
proj2_schem_sized_4.add(gdstk.FlexPath([(3.155,-0.89),(4.13,-0.89)], 0.08, ends="extended", simple_path=True, layer=9, datatype=0))  # metal2
proj2_schem_sized_4.add(gdstk.FlexPath([(4.13,-1.16),(4.13,-0.89)], 0.08, ends=(0, 0.04), simple_path=True, layer=9, datatype=0))  # metal2
proj2_schem_sized_4.add(gdstk.FlexPath([(3.155,-2.205),(3.155,-2.38)], 0.08, ends=(0, 0.04), simple_path=True, layer=9, datatype=0))  # metal2
proj2_schem_sized_4.add(gdstk.FlexPath([(1.13,-2.38),(3.155,-2.38)], 0.08, ends="extended", simple_path=True, layer=9, datatype=0))  # metal2
proj2_schem_sized_4.add(gdstk.FlexPath([(1.13,-2.475),(1.13,-2.38)], 0.08, ends=(0, 0.04), simple_path=True, layer=9, datatype=0))  # metal2
proj2_schem_sized_4.add(gdstk.FlexPath([(4.725,-2.395),(4.075,-2.395)], 0.08, ends="flush", simple_path=True, layer=9, datatype=0))  # metal2
proj2_schem_sized_4.add(gdstk.FlexPath([(0.655,-1.405),(1.065,-1.405)], 0.08, ends="flush", simple_path=True, layer=9, datatype=0))  # metal2
proj2_schem_sized_4.add(gdstk.FlexPath([(1.065,-2.215),(1.61,-2.215)], 0.08, ends="flush", simple_path=True, layer=9, datatype=0))  # metal2
proj2_schem_sized_4.add(gdstk.Reference(nmos1v_cdns_10, (5.555,-3.085)))
proj2_schem_sized_4.add(gdstk.Reference(nmos1v_cdns_10, (2.66,-3.15)))
proj2_schem_sized_4.add(gdstk.Reference(nmos1v_cdns_11, (4.54,-3.255), rotation=pi, x_reflection=True))
proj2_schem_sized_4.add(gdstk.Reference(pmos1v_cdns_12, (0.94,-1.915)))
proj2_schem_sized_4.add(gdstk.Reference(pmos1v_cdns_13, (0.78,-1.915), rotation=pi, x_reflection=True))
proj2_schem_sized_4.add(gdstk.Reference(pmos1v_cdns_14, (4.54,-2.305), rotation=pi, x_reflection=True))
proj2_schem_sized_4.add(gdstk.Reference(pmos1v_cdns_15, (2.66,-1.8)))
proj2_schem_sized_4.add(gdstk.Reference(pmos1v_cdns_15, (5.555,-1.815)))
proj2_schem_sized_4.add(gdstk.Reference(nmos1v_cdns_16, (4.645,-3.255), rotation=pi, x_reflection=True))
proj2_schem_sized_4.add(gdstk.Reference(pmos1v_cdns_17, (4.645,-2.305), rotation=pi, x_reflection=True))
proj2_schem_sized_4.add(gdstk.Reference(pmos1v_cdns_18, (3.79,-1.895), rotation=pi, x_reflection=True))
proj2_schem_sized_4.add(gdstk.Reference(pmos1v_cdns_19, (4.435,-2.305), rotation=pi, x_reflection=True))
proj2_schem_sized_4.add(gdstk.Reference(pmos1v_cdns_20, (4.155,-1.895)))
proj2_schem_sized_4.add(gdstk.Reference(pmos1v_cdns_21, (3.95,-1.895)))
proj2_schem_sized_4.add(gdstk.Reference(pmos1v_cdns_22, (3.54,-1.895)))
proj2_schem_sized_4.add(gdstk.Reference(nmos1v_cdns_23, (1.425,-3.22), rotation=pi, x_reflection=True))
proj2_schem_sized_4.add(gdstk.Reference(nmos1v_cdns_24, (3.54,-3.195)))
proj2_schem_sized_4.add(gdstk.Reference(nmos1v_cdns_25, (4.435,-3.255), rotation=pi, x_reflection=True))
proj2_schem_sized_4.add(gdstk.Reference(nmos1v_cdns_26, (0.81,-3.22), rotation=pi, x_reflection=True))
proj2_schem_sized_4.add(gdstk.Reference(nmos1v_cdns_27, (3.95,-3.195)))
proj2_schem_sized_4.add(gdstk.Reference(nmos1v_cdns_28, (3.79,-3.195), rotation=pi, x_reflection=True))
proj2_schem_sized_4.add(gdstk.Reference(pmos1v_cdns_29, (1.425,-2.12), rotation=pi, x_reflection=True))
proj2_schem_sized_4.add(gdstk.Reference(nmos1v_cdns_30, (1.175,-3.22)))
proj2_schem_sized_4.add(gdstk.Reference(nmos1v_cdns_31, (0.97,-3.22)))
proj2_schem_sized_4.add(gdstk.Reference(nmos1v_cdns_32, (1.53,-3.22), rotation=pi, x_reflection=True))
proj2_schem_sized_4.add(gdstk.Reference(pmos1v_cdns_33, (1.145,-1.915)))
proj2_schem_sized_4.add(gdstk.Reference(pmos1v_cdns_34, (1.53,-2.12), rotation=pi, x_reflection=True))
proj2_schem_sized_4.add(gdstk.Reference(nmos1v_cdns_35, (4.155,-3.195)))
proj2_schem_sized_4.add(gdstk.Reference(m2_m1_cdns_1, (1.065,-1.405)))
proj2_schem_sized_4.add(gdstk.Reference(m2_m1_cdns_1, (0.655,-1.405)))
proj2_schem_sized_4.add(gdstk.Reference(m2_m1_cdns_1, (4.075,-2.395)))
proj2_schem_sized_4.add(gdstk.Reference(m2_m1_cdns_1, (4.725,-2.395)))
proj2_schem_sized_4.add(gdstk.Reference(m2_m1_cdns_1, (1.61,-2.215)))
proj2_schem_sized_4.add(gdstk.Reference(m2_m1_cdns_1, (1.065,-2.215)))
proj2_schem_sized_4.add(gdstk.Reference(m1_po_cdns_2, (4.1375,-2.71)))
proj2_schem_sized_4.add(gdstk.Reference(m1_po_cdns_3, (0.3825,-3.4575)))
proj2_schem_sized_4.add(gdstk.Reference(m1_po_cdns_3, (5.185,-2.555)))
proj2_schem_sized_4.add(gdstk.Reference(m1_po_cdns_3, (2.275,-2.545)))
proj2_schem_sized_4.add(gdstk.Reference(m1_po_cdns_4, (3.4,-2.7125)))
proj2_schem_sized_4.add(gdstk.Reference(m1_po_cdns_5, (5.025,-0.985)))
proj2_schem_sized_4.add(gdstk.Reference(m1_po_cdns_5, (0.295,-1.0125)))
proj2_schem_sized_4.add(gdstk.Reference(m1_po_cdns_6, (1.13,-2.495)))
proj2_schem_sized_4.add(gdstk.Reference(m2_m1_cdns_7, (3.155,-2.205)))
proj2_schem_sized_4.add(gdstk.Reference(m2_m1_cdns_7, (1.13,-2.475)))
proj2_schem_sized_4.add(gdstk.Reference(m2_m1_cdns_8, (4.13,-1.16)))
proj2_schem_sized_4.add(gdstk.Reference(m2_m1_cdns_8, (5.025,-0.985)))
proj2_schem_sized_4.add(gdstk.Reference(m1_po_cdns_9, (4.13,-1.1575)))

lib.write_gds('proj2_schem_sized_4.gds')
